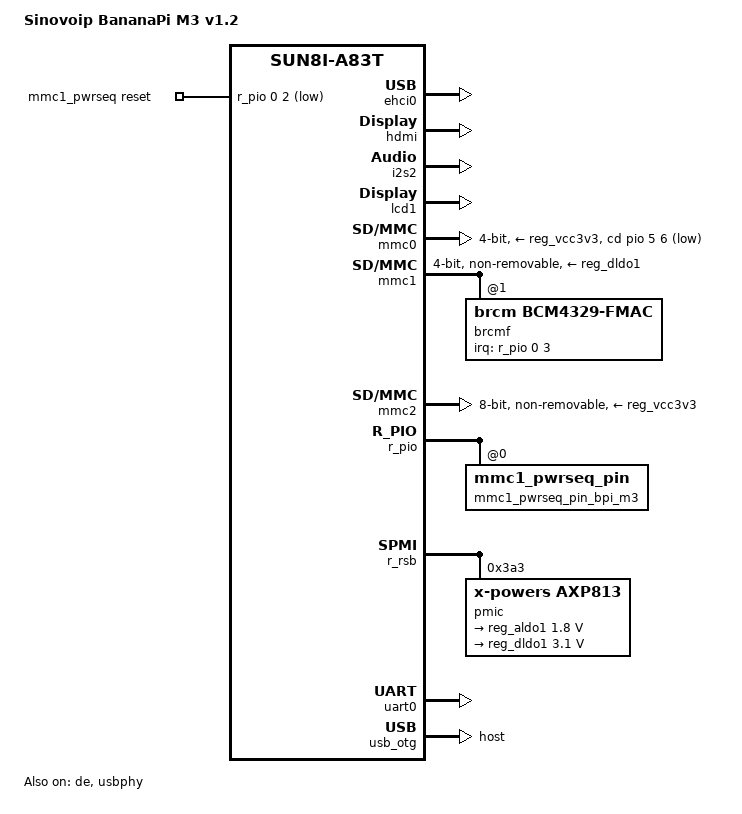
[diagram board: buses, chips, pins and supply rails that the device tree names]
/*
 * Copyright 2016 Vishnu Patekar
 * Vishnu Patekar <vishnupatekar0510@gmail.com>
 *
 * This file is dual-licensed: you can use it either under the terms
 * of the GPL or the X11 license, at your option. Note that this dual
 * licensing only applies to this file, and not this project as a
 * whole.
 *
 *  a) This file is free software; you can redistribute it and/or
 *     modify it under the terms of the GNU General Public License as
 *     published by the Free Software Foundation; either version 2 of the
 *     License, or (at your option) any later version.
 *
 *     This file is distributed in the hope that it will be useful,
 *     but WITHOUT ANY WARRANTY; without even the implied warranty of
 *     MERCHANTABILITY or FITNESS FOR A PARTICULAR PURPOSE.  See the
 *     GNU General Public License for more details.
 *
 * Or, alternatively,
 *
 *  b) Permission is hereby granted, free of charge, to any person
 *     obtaining a copy of this software and associated documentation
 *     files (the "Software"), to deal in the Software without
 *     restriction, including without limitation the rights to use,
 *     copy, modify, merge, publish, distribute, sublicense, and/or
 *     sell copies of the Software, and to permit persons to whom the
 *     Software is furnished to do so, subject to the following
 *     conditions:
 *
 *     The above copyright notice and this permission notice shall be
 *     included in all copies or substantial portions of the Software.
 *
 *     THE SOFTWARE IS PROVIDED "AS IS", WITHOUT WARRANTY OF ANY KIND,
 *     EXPRESS OR IMPLIED, INCLUDING BUT NOT LIMITED TO THE WARRANTIES
 *     OF MERCHANTABILITY, FITNESS FOR A PARTICULAR PURPOSE AND
 *     NONINFRINGEMENT. IN NO EVENT SHALL THE AUTHORS OR COPYRIGHT
 *     HOLDERS BE LIABLE FOR ANY CLAIM, DAMAGES OR OTHER LIABILITY,
 *     WHETHER IN AN ACTION OF CONTRACT, TORT OR OTHERWISE, ARISING
 *     FROM, OUT OF OR IN CONNECTION WITH THE SOFTWARE OR THE USE OR
 *     OTHER DEALINGS IN THE SOFTWARE.
 */

/dts-v1/;
#include "sun8i-a83t.dtsi"
#include "sunxi-common-regulators.dtsi"

#include <dt-bindings/gpio/gpio.h>
#include <dt-bindings/input/input.h>
#include <dt-bindings/pinctrl/sun4i-a10.h>

/ {
	model = "Sinovoip BananaPi M3 v1.2";
	compatible = "sinovoip,bpi-m3", "allwinner,sun8i-a83t";

	aliases {
		serial0 = &uart0;
		lcd1 = &lcd1;
		mmc0 = &mmc0;
		mmc1 = &mmc1;
		mmc2 = &mmc2;
	};

	chosen {
		stdout-path = "serial0:115200n8";
	};

#if 0
	leds {
		compatible = "gpio-leds";
		pinctrl-names = "default";
		pinctrl-0 = <&pwr_led_bpi_m3>;

		green {
			label = "bpi-m3:green:pwr";
--fixme: axp GPIO0
			gpios = <&r_pio 0 0 GPIO_ACTIVE_HIGH>; /* PL0 */
			default-state = "off";
		};
		blue {
			label = "bpi-m3:blue:pwr";
--fixme: axp GPIO1
			gpios = <&r_pio 0 1 GPIO_ACTIVE_HIGH>; /* PL1 */
			default-state = "off";
		};
	};
#endif

	mmc1_pwrseq: mmc1_pwrseq {
		compatible = "mmc-pwrseq-simple";
		pinctrl-names = "default";
		pinctrl-0 = <&mmc1_pwrseq_pin_bpi_m3>;
		reset-gpios = <&r_pio 0 2 GPIO_ACTIVE_LOW>; /* PL2 WIFI_EN */
	};
};

&de {
	status = "okay";
};

&ehci0 {
	/* Terminus Tech FE 1.1s 4-port USB 2.0 hub here */
	status = "okay";

	/* TODO GL830 USB-to-SATA bridge downstream w/ GPIO power controls */
};

&hdmi {
	status = "okay";
};

&i2s2 {
	status = "okay";
};

&lcd1 {
	status = "okay";
};

&mmc0 {						/* SD card */
	pinctrl-names = "default";
	pinctrl-0 = <&mmc0_pins_a>, <&mmc0_cd_pin>;
// bad voltage?
//	vmmc-supply = <&reg_dcdc1>;
	vmmc-supply = <&reg_vcc3v3>;
	bus-width = <4>;
	cd-gpios = <&pio 5 6 GPIO_ACTIVE_HIGH>; /* PF6 */
	cd-inverted;
	status = "okay";
};

&mmc1 {						/* wifi/BT */
	pinctrl-names = "default";
	pinctrl-0 = <&mmc1_pins_a>;
	vmmc-supply = <&reg_dldo1>;
	mmc-pwrseq = <&mmc1_pwrseq>;
	bus-width = <4>;
	non-removable;
	status = "okay";

	brcmf: bcrmf@1 {
		reg = <1>;
		compatible = "brcm,bcm4329-fmac";
		interrupt-parent = <&r_pio>;
		interrupts = <0 3 IRQ_TYPE_LEVEL_LOW>; /* PL3 */
		interrupt-names = "host-wake";
	};
};
&mmc1_pins_a {
	/* AP6212 requires pull-up */
	allwinner,pull = <SUN4I_PINCTRL_PULL_UP>;
};

&mmc2 {						/* eMMC */
	pinctrl-names = "default";
	pinctrl-0 = <&mmc2_8bit_pins>;
	vmmc-supply = <&reg_vcc3v3>;
	vqmmc-supply = <&reg_vcc3v3>;
	bus-width = <8>;
	non-removable;
	status = "okay";
};

&r_pio {
	mmc1_pwrseq_pin_bpi_m3: mmc1_pwrseq_pin@0 {
		allwinner,pins = "PL2";
		allwinner,function = "gpio_out";
//		allwinner,drive = <SUN4I_PINCTRL_10_MA>;
		allwinner,drive = <SUN4I_PINCTRL_20_MA>;
		allwinner,pull = <SUN4I_PINCTRL_NO_PULL>;
	};
#if 0
	pwr_led_bpi_m3: pwr_led_bpi_m3 {		/* green & blue leds */
--fixme
		allwinner,pins = "PL0", "PL1";
		allwinner,function = "gpio_out";
		allwinner,drive = <SUN4I_PINCTRL_10_MA>;
		allwinner,pull = <SUN4I_PINCTRL_NO_PULL>;
};
#endif
};

&r_rsb {
	status = "okay";

	pmic@3a3 {
		compatible = "x-powers,axp813";
		reg = <0x3a3>;
		interrupt-parent = <&nmi_intc>;
		interrupts = <0 IRQ_TYPE_LEVEL_LOW>;
		interrupt-controller;
		#interrupt-cells = <1>;

/* values from the BPI-M3 V1_2 schematic diagram */
		regulators {
			reg_aldo1: aldo1 {
				regulator-always-on;
				regulator-min-microvolt = <1800000>;
				regulator-max-microvolt = <1800000>;
				regulator-name = "vcc-hdmi-18";
			};
#if 0 // bad setting?
			reg_dcdc1: dcdc1 {		/* vcc-card */
				regulator-always-on;
				regulator-min-microvolt = <3100000>;
				regulator-max-microvolt = <3100000>;
				regulator-name = "dcdc1";
			};
#endif
#if 0 // set by u-boot
			reg_dcdc2: dcdc2 {
				regulator-always-on;
				regulator-min-microvolt = <900000>;
				regulator-max-microvolt = <900000>;
				regulator-name = "vdd-cpua";
			};
			reg_dcdc3: dcdc3 {
				regulator-always-on;
				regulator-min-microvolt = <900000>;
				regulator-max-microvolt = <900000>;
				regulator-name = "vdd-cpub";
			};
#endif
#if 0 // set by u-boot
			reg_dcdc6: dcdc6 {
				regulator-always-on;
				regulator-min-microvolt = <900000>;
				regulator-max-microvolt = <900000>;
				regulator-name = "vdd-hdmi-09";
			};
#endif
			reg_dldo1: dldo1 {
				regulator-min-microvolt = <3100000>;
				regulator-max-microvolt = <3100000>;
				regulator-name = "vcc-wifi";
			};
		};
	};
};

&reg_usb1_vbus {
	gpio = <&pio 3 24 GPIO_ACTIVE_HIGH>; /* PD24 */
	status = "okay";
};

&reg_vcc3v0 {
	status = "disabled";
};

&reg_vcc5v0 {
	status = "disabled";
};

&uart0 {
	pinctrl-names = "default";
	pinctrl-0 = <&uart0_pins_b>;
	status = "okay";
};

&usbphy {
	usb1_vbus-supply = <&reg_usb1_vbus>;
	status = "okay";
};

&usb_otg {
	/* VBUS detection/drive support in PMIC required for OTG */
	dr_mode = "host";
	status = "okay";
};

&usb1_vbus_pin_a {
	allwinner,pins = "PD24";
};
